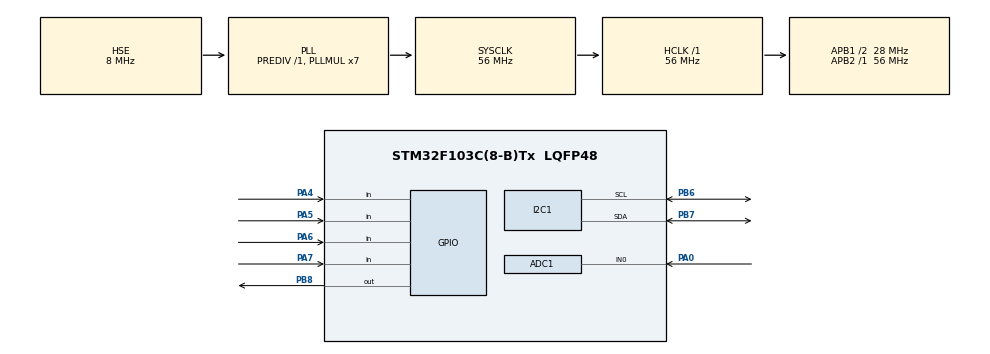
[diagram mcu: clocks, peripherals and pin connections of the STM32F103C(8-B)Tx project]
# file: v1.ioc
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ADC1.ContinuousConvMode=ENABLE
ADC1.DataAlign=ADC_DATAALIGN_RIGHT
ADC1.DiscontinuousConvMode=DISABLE
ADC1.EnableRegularConversion=DISABLE
ADC1.InjNumberOfConversion=0
ADC1.Mode=ADC_DUALMODE_INTERLFAST
ADC1.ScanConvMode=ADC_SCAN_DISABLE
ADC1.master=1
ADC2.ContinuousConvMode=ENABLE
ADC2.DataAlign=ADC_DATAALIGN_RIGHT
ADC2.DiscontinuousConvMode=DISABLE
ADC2.EnableRegularConversion=DISABLE
ADC2.InjNumberOfConversion=0
ADC2.Mode=ADC_DUALMODE_INTERLFAST
ADC2.ScanConvMode=ADC_SCAN_DISABLE
Dma.ADC1.0.Direction=DMA_PERIPH_TO_MEMORY
Dma.ADC1.0.Instance=DMA1_Channel1
Dma.ADC1.0.MemDataAlignment=DMA_MDATAALIGN_WORD
Dma.ADC1.0.MemInc=DMA_MINC_ENABLE
Dma.ADC1.0.Mode=DMA_NORMAL
Dma.ADC1.0.PeriphDataAlignment=DMA_PDATAALIGN_WORD
Dma.ADC1.0.PeriphInc=DMA_PINC_DISABLE
Dma.ADC1.0.Priority=DMA_PRIORITY_LOW
Dma.Request0=ADC1
Mcu.Family=STM32F1
Mcu.Name=STM32F103C(8-B)Tx
Mcu.Package=LQFP48
NVIC.DMA1_Channel1_IRQn=true\:0\:0\:false\:false\:true\:false
NVIC.PriorityGroup=NVIC_PRIORITYGROUP_4
NVIC.TIM4_IRQn=true\:0\:0\:false\:false\:true\:true
PA0-WKUP.Signal=ADCx_IN0
PA13.Mode=Serial_Wire
PA13.Signal=SYS_JTMS-SWDIO
PA14.Mode=Serial_Wire
PA14.Signal=SYS_JTCK-SWCLK
PA4.GPIO_PuPd=GPIO_PULLUP
PA4.Signal=GPIO_Input
PA5.GPIO_PuPd=GPIO_PULLUP
PA5.Signal=GPIO_Input
PA6.GPIO_PuPd=GPIO_PULLUP
PA6.Signal=GPIO_Input
PA7.GPIO_PuPd=GPIO_PULLUP
PA7.Signal=GPIO_Input
PB6.Mode=I2C
PB6.Signal=I2C1_SCL
PB7.Mode=I2C
PB7.Signal=I2C1_SDA
PB8.GPIO_Speed=GPIO_SPEED_FREQ_HIGH
PB8.PinState=GPIO_PIN_RESET
PB8.Signal=GPIO_Output
PD0-OSC_IN.Mode=HSE-External-Oscillator
PD0-OSC_IN.Signal=RCC_OSC_IN
PD1-OSC_OUT.Mode=HSE-External-Oscillator
PD1-OSC_OUT.Signal=RCC_OSC_OUT
ProjectManager.HeapSize=0x200
ProjectManager.StackSize=0x400
ProjectManager.TargetToolchain=SW4STM32
RCC.ADCPresc=RCC_ADCPCLK2_DIV4
RCC.AHBFreq_Value=56000000
RCC.APB1CLKDivider=RCC_HCLK_DIV2
RCC.APB1Freq_Value=28000000
RCC.APB1TimFreq_Value=56000000
RCC.APB2Freq_Value=56000000
RCC.APB2TimFreq_Value=56000000
RCC.HCLKFreq_Value=56000000
RCC.PLLMUL=RCC_PLL_MUL7
RCC.PLLSourceVirtual=RCC_PLLSOURCE_HSE
RCC.SYSCLKFreq_VALUE=56000000
RCC.SYSCLKSource=RCC_SYSCLKSOURCE_PLLCLK
RCC.USBFreq_Value=37333333.333333336
RCC.USBPrescaler=RCC_USBCLKSOURCE_PLL_DIV1_5
SH.ADCx_IN0.0=ADC1_IN0,IN0
SH.ADCx_IN0.1=ADC2_IN0,IN0
TIM4.AutoReloadPreload=TIM_AUTORELOAD_PRELOAD_ENABLE
TIM4.Period=279
TIM4.Prescaler=99
VP_TIM4_VS_ClockSourceINT.Mode=Internal
board=custom

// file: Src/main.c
/**
  ******************************************************************************
  * @file           : main.c
  * @brief          : Main program body
  ******************************************************************************
  ** This notice applies to any and all portions of this file
  * that are not between comment pairs USER CODE BEGIN and
  * USER CODE END. Other portions of this file, whether
  * inserted by the user or by software development tools
  * are owned by their respective copyright owners.
  *
  * COPYRIGHT(c) 2018 STMicroelectronics
  *
  * Redistribution and use in source and binary forms, with or without modification,
  * are permitted provided that the following conditions are met:
  *   1. Redistributions of source code must retain the above copyright notice,
  *      this list of conditions and the following disclaimer.
  *   2. Redistributions in binary form must reproduce the above copyright notice,
  *      this list of conditions and the following disclaimer in the documentation
  *      and/or other materials provided with the distribution.
  *   3. Neither the name of STMicroelectronics nor the names of its contributors
  *      may be used to endorse or promote products derived from this software
  *      without specific prior written permission.
  *
  * THIS SOFTWARE IS PROVIDED BY THE COPYRIGHT HOLDERS AND CONTRIBUTORS "AS IS"
  * AND ANY EXPRESS OR IMPLIED WARRANTIES, INCLUDING, BUT NOT LIMITED TO, THE
  * IMPLIED WARRANTIES OF MERCHANTABILITY AND FITNESS FOR A PARTICULAR PURPOSE ARE
  * DISCLAIMED. IN NO EVENT SHALL THE COPYRIGHT HOLDER OR CONTRIBUTORS BE LIABLE
  * FOR ANY DIRECT, INDIRECT, INCIDENTAL, SPECIAL, EXEMPLARY, OR CONSEQUENTIAL
  * DAMAGES (INCLUDING, BUT NOT LIMITED TO, PROCUREMENT OF SUBSTITUTE GOODS OR
  * SERVICES; LOSS OF USE, DATA, OR PROFITS; OR BUSINESS INTERRUPTION) HOWEVER
  * CAUSED AND ON ANY THEORY OF LIABILITY, WHETHER IN CONTRACT, STRICT LIABILITY,
  * OR TORT (INCLUDING NEGLIGENCE OR OTHERWISE) ARISING IN ANY WAY OUT OF THE USE
  * OF THIS SOFTWARE, EVEN IF ADVISED OF THE POSSIBILITY OF SUCH DAMAGE.
  *
  ******************************************************************************
  */
#include "main.h"
#include "stm32f1xx_hal.h"

/* USER CODE BEGIN Includes */
#include <stdlib.h>
#include "ssd1306_tests.h"
#include "ssd1306.h"
/* USER CODE END Includes */

ADC_HandleTypeDef hadc1;
ADC_HandleTypeDef hadc2;
DMA_HandleTypeDef hdma_adc1;

I2C_HandleTypeDef hi2c1;

TIM_HandleTypeDef htim4;

/* USER CODE BEGIN PV */
/* Private variables ---------------------------------------------------------*/
int adc_finish=0;
int trigger_threshold = 1950;
int volt_scale = 500;
int time_scale_position = 5;
float time_scale_step = 1;
long adc_freq =  14000000L;
int now_key = 0;
int old_key = 0;
int drawline_switch = 1;
int graph_x = 0;
int time_scale_over_5000_div_counter = 0;

//#define ADC_DATA_ARRAY_SIZE 975
#define ADC_DATA_ARRAY_SIZE 3000
#define MIDDLE_POINT ADC_DATA_ARRAY_SIZE
uint16_t find_x=MIDDLE_POINT;

int slow_adc_div_counter = 0;
//int graph_point_sampled = 0;
int key_func_group = 1;
int key_debounce_timer = 0;
/* USER CODE END PV */

void SystemClock_Config(void);
static void MX_GPIO_Init(void);
static void MX_DMA_Init(void);
static void MX_ADC1_Init(void);
static void MX_ADC2_Init(void);
static void MX_I2C1_Init(void);
static void MX_TIM4_Init(void);

/* USER CODE BEGIN PFP */
/* Private function prototypes -----------------------------------------------*/

/* USER CODE END PFP */

/* USER CODE BEGIN 0 */
void init() {
//    ssd1306_TestAll();
    ssd1306_Init();
//    ssd1306_TestFPS();

}

void loop() {
	HAL_Delay(100);
}

uint32_t adc_datas[ADC_DATA_ARRAY_SIZE];

uint16_t get_adc_data(int index)
{
	uint16_t tmp;
	if(index % 2)
	{
		// index % 2 != 0
		tmp = ((adc_datas[index/2])&0xffff);
	}
	else
	{
		// index % 2 == 0
		tmp = ((adc_datas[index/2]>>16)&0xffff);
	}
//#define OFFSET 90
#define OFFSET 0
	if(tmp < (4096-OFFSET)) tmp += OFFSET;
	return tmp;
}
//
// scale : Volts/DIV (unit:mV)
//
uint16_t convert_adc_scale(uint16_t data,int scale)
{
	int tmp=0;
	if(scale == 100)
	{
//		tmp = data/(0.001/(3.3/4096));
//		tmp -= (4096/(0.001/(3.3/4096)) - 64) / 2;
	}
	else if(scale == 200)
	{
//		tmp = data/(0.002/(3.3/4096));
//		tmp -= (4096/(0.002/(3.3/4096)) - 64) / 2;
	}
	else if(scale == 500)
	{
		// 1/10
		// 1-(1/10) = 9/10
		// 9/10 /2 = 4.5/10
		tmp = data - (4.5*4096/10); // 4.5/10=0.45
		tmp /= (4096/10/64); // ratio = 10
	}
	else if(scale == 1000)
	{
		// 1/5
		// 1-(1/5) = 4/5
		// 4/5 /2 = 2/5
		tmp = data - (2*4096/5); // 2/5=0.4
		tmp /= (4096/5/64); // 10/2=5
	}
	else if(scale == 2000)
	{
		// 1/2.5
		// 1-(1/2.5) = 1.5/2.5
		// 1.5/2.5 /2 = 0.75/2.5 = 7.5/25
		tmp = data - (7.5*4096/25); // 7.5/25=0.3
		tmp /= (4096/2.5/64); // 10/4=2.5
	}
	else if(scale == 5000)
	{
		// 1/1
		// 1-(1/1) = 0
		// 0 /2 = 0
		tmp = data - (0);
		tmp /= (4096/1/64); // 10/10=1
	}
	else if(scale == 10000)
	{
//		tmp = data/(1.0/(3.3/4096));
//		tmp -= (4096/(1.0/(3.3/4096)) - 64) / 2;
	}
	if(tmp < 0) tmp = 0;
	return tmp;
}
void i2cClock_Reconfig(void)
{
	  // i2c clock re-config
	  hi2c1.Init.ClockSpeed = 8 * 100000;
	  if (HAL_I2C_Init(&hi2c1) != HAL_OK)
	  {
	    _Error_Handler(__FILE__, __LINE__);
	  }

}
//void sysTick_Reconfig(void)
//{
//    /**Configure the Systick interrupt time
//    */
//	  HAL_SYSTICK_Config(HAL_RCC_GetHCLKFreq()/2000U);
//	    /**Configure the Systick
//	    */
//	  HAL_SYSTICK_CLKSourceConfig(SYSTICK_CLKSOURCE_HCLK);
//
//	  /* SysTick_IRQn interrupt configuration */
//	  HAL_NVIC_SetPriority(SysTick_IRQn, 0, 0);

//	  HAL_SetTickFreq(0.5);
//}
void ADCClock_ReConfig(int div)
{

  RCC_ClkInitTypeDef RCC_ClkInitStruct;
  RCC_PeriphCLKInitTypeDef PeriphClkInit;

    /**Initializes the CPU, AHB and APB busses clocks
    */
  RCC_ClkInitStruct.ClockType = RCC_CLOCKTYPE_HCLK|RCC_CLOCKTYPE_SYSCLK
                              |RCC_CLOCKTYPE_PCLK1|RCC_CLOCKTYPE_PCLK2;
  RCC_ClkInitStruct.SYSCLKSource = RCC_SYSCLKSOURCE_PLLCLK;
  RCC_ClkInitStruct.AHBCLKDivider = RCC_SYSCLK_DIV1;
  RCC_ClkInitStruct.APB1CLKDivider = RCC_HCLK_DIV2;
  if(div==14000000L)
  {
	  RCC_ClkInitStruct.APB2CLKDivider = RCC_HCLK_DIV1;
  }
  if(div==1750000L)
  {
	  RCC_ClkInitStruct.APB2CLKDivider = RCC_HCLK_DIV8;
  }
  if(div==437500L)
  {
	  RCC_ClkInitStruct.APB2CLKDivider = RCC_HCLK_DIV16;
  }

  if (HAL_RCC_ClockConfig(&RCC_ClkInitStruct, FLASH_LATENCY_2) != HAL_OK)
  {
    _Error_Handler(__FILE__, __LINE__);
  }

  PeriphClkInit.PeriphClockSelection = RCC_PERIPHCLK_ADC;
  if(div==14000000L || div==1750000L)
  {
	  PeriphClkInit.AdcClockSelection = RCC_ADCPCLK2_DIV4;
  }
  if(div==437500L)
  {
	  PeriphClkInit.AdcClockSelection = RCC_ADCPCLK2_DIV8;
  }

  if (HAL_RCCEx_PeriphCLKConfig(&PeriphClkInit) != HAL_OK)
  {
    _Error_Handler(__FILE__, __LINE__);
  }

}

void drawline(uint16_t x0, uint16_t y0, uint16_t x1, uint16_t y1)
{
//	uint16_t dx, dy, p, x, y;
	if(y0 == 0xffff) return;
	if(y1 == 0xffff) return;
	if((y0 > 64-1)) y0 = 63;
	if((y1 > 64-1)) y1 = 63;

	  int dx =  abs (x1 - x0), sx = x0 < x1 ? 1 : -1;
	  int dy = -abs (y1 - y0), sy = y0 < y1 ? 1 : -1;
	  int err = dx + dy, e2; /* error value e_xy */

	  for (;;){  /* loop */
	    //setPixel (x0,y0);
	    ssd1306_DrawPixel(x0, y0, Black);
	    if (x0 == x1 && y0 == y1) break;
	    e2 = 2 * err;
	    if (e2 >= dy) { err += dy; x0 += sx; } /* e_xy+e_x > 0 */
	    if (e2 <= dx) { err += dx; y0 += sy; } /* e_xy+e_y < 0 */
	  }

}

void draw_frame(void )
{
	  char str[16];
	  char str2[16];
	//
	// draw frame
	//
			  		  for(int i=0 ;i<128;i++)
			  		  {
			  			  if((i % 2) == 0)
			  				  ssd1306_DrawPixel(i, 64/2, Black);

			  			  if(i%10 == 0)
			  			  {
			  				  ssd1306_DrawPixel(i, (64/2)-60, Black);
			  				  ssd1306_DrawPixel(i, (64/2)-50, Black);
			  				  ssd1306_DrawPixel(i, (64/2)-40, Black);
			  				  ssd1306_DrawPixel(i, (64/2)-30, Black);
			  				  ssd1306_DrawPixel(i, (64/2)-20, Black);
			  				  ssd1306_DrawPixel(i, (64/2)-10, Black);
			  //				  ssd1306_DrawPixel(i, (64/2)-0, Black);
			  				  ssd1306_DrawPixel(i, (64/2)+10, Black);
			  				  ssd1306_DrawPixel(i, (64/2)+20, Black);
			  				  ssd1306_DrawPixel(i, (64/2)+30, Black);
			  				  ssd1306_DrawPixel(i, (64/2)+40, Black);
			  				  ssd1306_DrawPixel(i, (64/2)+50, Black);
			  				  ssd1306_DrawPixel(i, (64/2)+60, Black);
			  			  }
			  		  }
			  		  for(int i=0 ;i<64;i++)
			  		  {
			  			  if((i % 2) == 0)
			  			  {
			  				  ssd1306_DrawPixel(50, i, Black);
			  				  ssd1306_DrawPixel(100, i, Black);
			  			  }
			  		  }
			  		  for(int i=0 ;i<128;i++)
			  		  {
			  			  if((i % 3))
			  				  ssd1306_DrawPixel(i, convert_adc_scale(trigger_threshold,volt_scale), Black);
			  		  }
			  		  //
//			  		  drawline(127-17-1,0+1,127-1,0+1);
//			  		  drawline(127-17-1,10*6+1,127-1,10*6+1);
//			  		  drawline(127-17-1,0+1,127-17-1,10*6+1);
//			  		  drawline(127-1,0+1,127-1,10*6+1);
//			  		  drawline(127-17-1,0+1+10,127-1,0+1+10);
//			  		  drawline(127-17-1,0+1+20,127-1,0+1+20);
//			  		  drawline(127-17-1,0+1+30,127-1,0+1+30);
//			  		  drawline(127-17-1,0+1+40,127-1,0+1+40);
//			  		  drawline(127-17-1,0+1+50,127-1,0+1+50);
			  		  for(int y=0;y<0+21;y++)
//			  			  for(int x=120;x<120+28;x++)
			  			  {
			  				drawline(100,y,120+27,y);
			  			  }
			  		  for(int y=64-19;y<64;y++)
//			  			  for(int x=120;x<120+28;x++)
			  			  {
			  				drawline(100,y,120+27,y);
			  			  }
			  		  //
			  	  	  sprintf(str," %c",FONT8X9_DAHAI);
			  	  	  ssd1306_SetCursor(127-17, 0);
			  	  	  ssd1306_WriteString(str, Font_8x9, White);

			  		  switch (volt_scale)
			  		  {
			  			  case 100:
//			  				  sprintf(str,"%c",FONT5X8_0p5V);
			  				  break;
			  			  case 200:
//			  				  sprintf(str,"0.2V");
			  				  break;
			  			  case 500:
			  				  sprintf(str,"%c",FONT8X9_0p5V);
			  				  break;
			  			  case 1000:
			  				  sprintf(str,"%c",FONT8X9_1V);
			  				  break;
			  			  case 2000:
			  				  sprintf(str,"%c",FONT8X9_2V);
			  				  break;
			  			  case 5000:
			  				  sprintf(str,"%c",FONT8X9_5V);
			  				  break;
			  			  default:
			  				  break;
			  		  }
			  	  	  ssd1306_SetCursor(127-17-1, 0+11);
			  	  	  ssd1306_WriteString(str, Font_8x9, White);
			  	  	  ssd1306_SetCursor(127-8,0+11);
			  	  	  sprintf(str,"%c",FONT8X9_DIV);
			  	  	  ssd1306_WriteString(str, Font_8x9, White);

			  		  switch (time_scale_position)
			  		  {
			  			  case 5:
			  				  sprintf(str2,"%cM",FONT8X9_2);
			  				  sprintf(str,"%c%c",FONT8X9_5,FONT8X9_uS);
			  				  break;
			  			  case 10:
			  				  sprintf(str2,"%cM",FONT8X9_2);
			  				  sprintf(str,"%c%c",FONT8X9_10,FONT8X9_uS);
			  				  break;
			  			  case 20:
			  				  sprintf(str2,"%cM",FONT8X9_2);
			  				  sprintf(str,"%c%c",FONT8X9_20,FONT8X9_uS);
			  				  break;
			  			  case 50:
			  				  sprintf(str2,"%cM",FONT8X9_2);
			  				  sprintf(str,"%c%c",FONT8X9_50,FONT8X9_uS);
			  				  break;
			  			  case 100:
			  				  sprintf(str2,"%ck",FONT8X9_200);
			  				  sprintf(str,"%c%c",FONT8X9_100,FONT8X9_uS);
			  				  break;
			  			  case 200:
			  				  sprintf(str2,"%ck",FONT8X9_200);
			  				  sprintf(str,"%c%c",FONT8X9_200,FONT8X9_uS);
			  				  break;
			  			  case 500:
			  				  sprintf(str2,"%ck",FONT8X9_200);
			  				  sprintf(str,"%c%c",FONT8X9_500,FONT8X9_uS);
			  				  break;
			  			  case 1000:
			  				  sprintf(str2,"%ck",FONT8X9_20);
			  				  sprintf(str,"%c%c",FONT8X9_1,FONT8X9_mS);
			  				  break;
			  			  case 2000:
			  				  sprintf(str2,"%ck",FONT8X9_20);
			  				  sprintf(str,"%c%c",FONT8X9_2,FONT8X9_mS);
			  				  break;
			  			  case 5000:
			  				  sprintf(str2,"%ck",FONT8X9_20);
			  				  sprintf(str,"%c%c",FONT8X9_5,FONT8X9_mS);
			  				  break;
			  			  case 10000:
			  				  sprintf(str2,"%ck",FONT8X9_2);
			  				  sprintf(str,"%c%c",FONT8X9_10,FONT8X9_mS);
			  				  break;
			  			  case 20000:
			  				  sprintf(str2,"%ck",FONT8X9_2);
			  				  sprintf(str,"%c%c",FONT8X9_20,FONT8X9_mS);
			  				  break;
			  			  case 50000:
			  				  sprintf(str2,"%ck",FONT8X9_2);
			  				  sprintf(str,"%c%c",FONT8X9_50,FONT8X9_mS);
			  				  break;
			  			  case 100000:
			  				  sprintf(str2,"    ");
			  				  sprintf(str,"%c%c",FONT8X9_0p1,FONT8X9_S);
			  				  break;
			  			  case 200000:
			  				  sprintf(str2,"    ");
			  				  sprintf(str,"%c%c",FONT8X9_0p2,FONT8X9_S);
			  				  break;
			  			  case 500000:
			  				  sprintf(str2,"    ");
			  				  sprintf(str,"%c%c",FONT8X9_0p5,FONT8X9_S);
			  				  break;
			  			  default:
			  				  break;
			  		  }
			  	  	  ssd1306_SetCursor(128-25, 64-19);
			  	  	  ssd1306_WriteString(str, Font_8x9, White);
			  	  	  sprintf(str,"%c",FONT8X9_DIV);
			  	  	  ssd1306_SetCursor(128-9, 64-19);
			  	  	  ssd1306_WriteString(str, Font_8x9, White);

			  	  	  ssd1306_SetCursor(128-25, 64-10);
			  	  	  ssd1306_WriteString(str2, Font_8x9, White);
			  	  	  sprintf(str2,"%c",FONT8X9_SPS);
			  	  	  ssd1306_SetCursor(128-9, 64-10);
			  	  	  ssd1306_WriteString(str2, Font_8x9, White);
	switch(key_func_group)
	{
	case 1:
		ssd1306_SetCursor(93,44);
		ssd1306_WriteString(">", Font_8x9, White);
		break;
	case 2:
		ssd1306_SetCursor(93,9);
		ssd1306_WriteString(">", Font_8x9, White);
		break;
	case 3:
		ssd1306_SetCursor(0, convert_adc_scale(trigger_threshold,volt_scale)-4);
		ssd1306_WriteString(">", Font_8x9, White);
		break;
	default:
		break;
	}
}
void process_key(void)
{
	if(key_debounce_timer > 0)		return;

//	if(HAL_GPIO_ReadPin(GPIOC,GPIO_PIN_13) == GPIO_PIN_RESET) now_key = 1;
//	else if(HAL_GPIO_ReadPin(GPIOC,GPIO_PIN_14) == GPIO_PIN_RESET) now_key = 2;
	 if(HAL_GPIO_ReadPin(GPIOA,GPIO_PIN_4) == GPIO_PIN_RESET) now_key = 1;
	else if(HAL_GPIO_ReadPin(GPIOA,GPIO_PIN_5) == GPIO_PIN_RESET) now_key = 2;
	else if(HAL_GPIO_ReadPin(GPIOA,GPIO_PIN_6) == GPIO_PIN_RESET) now_key = 3;
	else if(HAL_GPIO_ReadPin(GPIOA,GPIO_PIN_7) == GPIO_PIN_RESET) now_key = 4;
	else now_key = 0;

	if(old_key != now_key)
	{
	  old_key = now_key;

	  if(now_key == 3)
	  {
		switch(key_func_group)
		{
		case 1:
			key_func_group = 2;
			break;
		case 2:
			key_func_group = 3;
			break;
		case 3:
			key_func_group = 1;
			break;
		default:
			break;
		}
	  }
	  if(now_key == 4)
	  {
		switch(key_func_group)
		{
		  case 3:
			  key_func_group = 2;
			  break;
		  case 2:
			  key_func_group = 1;
			  break;
		  case 1:
			  key_func_group = 3;
			  break;
		  default:
			  break;
		}
	  }

	  if(key_func_group == 1 && now_key == 1)
	  {
		  switch (time_scale_position)
		  {
			  case 5:
				  // change to 10us/DIV = 1us/div
				  // 14M clk = 2M SPS = 0.5us
				  adc_freq =  14000000L;
				  ADCClock_ReConfig(adc_freq);
				  time_scale_position = 10;
				  time_scale_step = 2;
				  break;
			  case 10:
//					  adc_freq =  14000000L;
//					  ADCClock_ReConfig(adc_freq);
				  time_scale_position = 20;
				  time_scale_step = 4;
				  break;
			  case 20:
//					  adc_freq =  14000000L;
//					  ADCClock_ReConfig(adc_freq);
				  time_scale_position = 50;
				  time_scale_step = 10;
				  break;
			  case 50:
				  // change to 100us/DIV = 10us/div
				  // 1.75M clk = 250k SPS = 4us
				  //
				  // 10us / 4us = 2.5
				  adc_freq =  1750000L;
				  ADCClock_ReConfig(adc_freq);
				  time_scale_position = 100;
				  time_scale_step = (1.25 * 2);
				  break;
			  case 100:
//					  adc_freq =  1750000L;
//					  ADCClock_ReConfig(adc_freq);
				  time_scale_position = 200;
				  time_scale_step = (1.25 * 4);
				  break;
			  case 200:
//					  adc_freq =  1750000L;
//					  ADCClock_ReConfig(adc_freq);
				  time_scale_position = 500;
				  time_scale_step = (1.25 * 10);
				  break;
			  case 500:
				  adc_freq = 437500L;
				  ADCClock_ReConfig(adc_freq);
				  time_scale_position = 1000;
				  time_scale_step = (3.125 * 2);
				  break;
			  case 1000:
//					  adc_freq = 437500L;
//					  ADCClock_ReConfig(adc_freq);
				  time_scale_position = 2000;
				  time_scale_step = (3.125 * 4);
				  break;
			  case 2000:
//					  adc_freq = 437500L;
//					  ADCClock_ReConfig(adc_freq);
				  time_scale_position = 5000;
				  time_scale_step = (3.125 * 10);
				  break;
			  case 5000:
				  adc_freq =  14000000L;
				  time_scale_position = 10000;
				  time_scale_step = 2;
				  break;
			  case 10000:
				  time_scale_position = 20000;
				  time_scale_step = 4;
				  break;
			  case 20000:
				  time_scale_position = 50000;
				  time_scale_step = 10;
				  break;
			  case 50000:
				  time_scale_position = 100000;
				  time_scale_step = 1;
				  break;
			  case 100000:
				  time_scale_position = 200000;
				  time_scale_step = 1;
				  break;
			  case 200000:
				  time_scale_position = 500000;
				  time_scale_step = 1;
				  break;
			  case 500000:
				  adc_freq =  14000000L;
				  ADCClock_ReConfig(adc_freq);
				  time_scale_position = 5;
				  time_scale_step = 1;
				  break;
			  default:
				  break;
  		  }
		  HAL_ADC_Stop(&hadc1);
		  HAL_ADC_Stop(&hadc2);
		  HAL_ADCEx_Calibration_Start(&hadc1);
		  HAL_ADCEx_Calibration_Start(&hadc2);
//		  HAL_ADC_Start(&hadc2);
	  }
	  if(key_func_group == 1 && now_key == 2)
	  {
		  switch (time_scale_position)
		  {
			  case 5:
				  adc_freq = 14000000L;
				  ADCClock_ReConfig(adc_freq);
				  time_scale_position = 500000;
				  time_scale_step = 1;
				  break;
			  case 10:
				  adc_freq =  14000000L;
				  ADCClock_ReConfig(adc_freq);
				  time_scale_position = 5;
				  time_scale_step = 1;
				  break;
			  case 20:
				  adc_freq =  14000000L;
				  ADCClock_ReConfig(adc_freq);
				  time_scale_position = 10;
				  time_scale_step = 2;
				  break;
			  case 50:
				  adc_freq =  14000000L;
				  ADCClock_ReConfig(adc_freq);
				  time_scale_position = 20;
				  time_scale_step = 4;
				  break;
			  case 100:
				  adc_freq =  14000000L;
				  ADCClock_ReConfig(adc_freq);
				  time_scale_position = 50;
				  time_scale_step = 10;
				  break;
			  case 200:
				  adc_freq =  1750000L;
				  ADCClock_ReConfig(adc_freq);
				  time_scale_position = 100;
				  time_scale_step = (1.25 * 2);
				  break;
			  case 500:
				  adc_freq =  1750000L;
				  ADCClock_ReConfig(adc_freq);
				  time_scale_position = 200;
				  time_scale_step = (1.25 * 4);
				  break;
			  case 1000:
				  adc_freq =  1750000L;
				  ADCClock_ReConfig(adc_freq);
				  time_scale_position = 500;
				  time_scale_step = (1.25 * 10);
				  break;
			  case 2000:
				  adc_freq = 437500L;
				  ADCClock_ReConfig(adc_freq);
				  time_scale_position = 1000;
				  time_scale_step = (3.125 * 2);
				  break;
			  case 5000:
				  adc_freq = 437500L;
				  ADCClock_ReConfig(adc_freq);
				  time_scale_position = 2000;
				  time_scale_step = (3.125 * 4);
				  break;
			  case 10000:
				  adc_freq = 437500L;
				  ADCClock_ReConfig(adc_freq);
				  time_scale_position = 5000;
				  time_scale_step = (3.125 * 10);
				  break;
			  case 20000:
				  time_scale_position = 10000;
				  time_scale_step = 2;
				  break;
			  case 50000:
				  time_scale_position = 20000;
				  time_scale_step = 4;
				  break;
			  case 100000:
				  time_scale_position = 50000;
				  time_scale_step = 10;
				  break;
			  case 200000:
				  time_scale_position = 100000;
				  time_scale_step = 1;
				  break;
			  case 500000:
				  time_scale_position = 200000;
				  time_scale_step = 1;
				  break;
			  default:
				  break;
  		  }
		  HAL_ADC_Stop(&hadc1);
		  HAL_ADC_Stop(&hadc2);
		  HAL_ADCEx_Calibration_Start(&hadc1);
		  HAL_ADCEx_Calibration_Start(&hadc2);
//		  HAL_ADC_Start(&hadc2);
	  }
	  if(key_func_group == 2 && now_key == 1)
	  {
		  switch(volt_scale)
		  {
			  case 500:
				  volt_scale = 1000;
				  break;
			  case 1000:
				  volt_scale = 2000;
				  break;
			  case 2000:
				  volt_scale = 5000;
				  break;
			  case 5000:
				  volt_scale = 500;
				  break;
			  default:
				  break;
		  }
	  }
	  if(key_func_group == 2 && now_key == 2)
	  {
		  switch(volt_scale)
		  {
			  case 500:
				  volt_scale = 5000;
				  break;
			  case 1000:
				  volt_scale = 500;
				  break;
			  case 2000:
				  volt_scale = 1000;
				  break;
			  case 5000:
				  volt_scale = 2000;
				  break;
			  default:
				  break;
		  }
	  }
	  if(key_func_group == 3 && now_key == 1)
	  {
		  if(trigger_threshold > ((volt_scale/10)/7.3)) trigger_threshold-=((volt_scale/10)/7.3);
	  }
	  if(key_func_group == 3 && now_key == 2)
	  {
		  if(trigger_threshold < (4096 - ((volt_scale/10)/7.3))) trigger_threshold+=((volt_scale/10)/7.3);
	  }
	  // debounce
	  key_debounce_timer = 40;
//	  for(long i=0;i<300000;i++);
	  // adc re-start
	  HAL_ADC_Start(&hadc2);
	  HAL_ADCEx_MultiModeStart_DMA(&hadc1, adc_datas, 1);
	}// old_key != new_key

}
void process_buffer(void)
{
	  uint16_t x=0;
	  uint16_t new_y=0;
	  volatile uint16_t old_y=0;
	  uint16_t adc_data;
//		  uint16_t middle_y;
	  // first half screen after x=50
	  x=50;
	  for(float i=find_x+(1*time_scale_step); i<find_x+(1*time_scale_step)+((128-50)*time_scale_step); i+=time_scale_step)
	  {
		  adc_data = get_adc_data(i);
		  if(adc_data < 4096)
			  new_y = convert_adc_scale(adc_data,volt_scale);
		  else
			  new_y = adc_data;

		  if(drawline_switch & (x!=50))
		  {
			  drawline(x-1,old_y,x,new_y);

			  x++;
		  }
		  else
		  {
			  // first point
			  ssd1306_DrawPixel(x, new_y, Black);
			  x++;
		  }
		  old_y = new_y;

	  }
	  // the other half screen before x=50
	  x=50;
	  for(float i=find_x+(1*time_scale_step); i>find_x+(1*time_scale_step)-(50*time_scale_step); i-=time_scale_step)
	  {
		  adc_data = get_adc_data(i);
		  if(adc_data < 4096)
			  new_y = convert_adc_scale(adc_data,volt_scale);
		  else
			  new_y = adc_data;

		  if(drawline_switch & (x!=50))
		  {
			  drawline(x+1,old_y,x,new_y);
			  x--;
		  }
		  else
		  {
			  // first point
			  ssd1306_DrawPixel(x, new_y, Black);
			  x--;
		  }
		  old_y = new_y;

	  }
//	  ssd1306_DrawPixel(x & 0x7f, y & 0x3f, Black);

}
/* USER CODE END 0 */

int main(void)
{

  /* MCU Configuration----------------------------------------------------------*/

  /* Reset of all peripherals, Initializes the Flash interface and the Systick. */
  HAL_Init();

  /* Configure the system clock */
  SystemClock_Config();

  /* Initialize all configured peripherals */
  MX_GPIO_Init();
  MX_DMA_Init();
  MX_ADC1_Init();
  MX_ADC2_Init();
  MX_I2C1_Init();
  MX_TIM4_Init();
  /* USER CODE BEGIN 2 */
  //
  i2cClock_Reconfig();
//  sysTick_Reconfig();

  ADCClock_ReConfig(adc_freq);

// timer1
//  HAL_TIM_Base_Start(&htim1);
  HAL_TIM_Base_Start_IT(&htim4);
//  HAL_TIM_OC_Start(&htim1, TIM_CHANNEL_1);
//  HAL_TIM_OC_Start_IT(&htim1, TIM_CHANNEL_2);

// adc first start
  HAL_ADC_Start(&hadc2);
  HAL_ADCEx_MultiModeStart_DMA(&hadc1, adc_datas, ADC_DATA_ARRAY_SIZE);
  for(volatile long i=0;i<1000000L;i++);
// adc calibration
  HAL_ADC_Stop(&hadc1);
  HAL_ADC_Stop(&hadc2);
  HAL_ADCEx_Calibration_Start(&hadc1);
  HAL_ADCEx_Calibration_Start(&hadc2);
// adc re-start
//  HAL_ADC_Start(&hadc1);
  HAL_ADC_Start(&hadc2);
//  ADC_Enable(&hadc1);
//  ADC_Enable(&hadc2);
  HAL_ADCEx_MultiModeStart_DMA(&hadc1, adc_datas, ADC_DATA_ARRAY_SIZE);

  /* USER CODE END 2 */

  /* Infinite loop */
  /* USER CODE BEGIN WHILE */
  init();
//  int rand = 65537;
//  int x,y;
//  for(int i; i<100; i++)
//	 loop();
//  loop();
//  loop();
//  ssd1306_Fill(Black);
//  int trigger_threshold = 1920;

  while (1)
  {
//	  for(y=0; y<60; y+=10)
//	  for(x=0; x<128; x+=8)
//	  {
////	    loop();
//
  /* USER CODE END WHILE */

  /* USER CODE BEGIN 3 */
//	  init();
//	  for(int i; i<100; i++)
//		 loop();

//	    ssd1306_SetCursor(x,y);
//	    ssd1306_WriteChar(*(unsigned char *)(&rand), Font_7x10, White);
//	    ssd1306_UpdateScreen();
//	    rand = rand * 3 + 1;
//	  }

//	  ssd1306_DrawPixel(rand() % 128, rand() % 64, White);
//	  ssd1306_UpdateScreen();

	  //	  x = *(unsigned char *)(&rand);
//	  rand = rand * 3 + 1;
//	  y = *(unsigned char *)(&rand);
//	  rand = rand * 3 + 1;

//	  ssd1306_SetCursor(0, 0);
//	  sprintf(str,"%d    ",adc_datas[0]);
//	  ssd1306_WriteString(str, Font_7x10, White);

	  //
	process_key();
//
	  if(adc_finish)
	  {
		  adc_finish = 0;

	  	  // waveform or graph
		  if(time_scale_position < 10000)
		  {
// find cross-trigger point
		  // find cross-trigger point from middle of data array
//		  uint16_t tmp1;
		  uint16_t tmp2;
		  uint16_t tmp3;
//		  uint16_t tmp4;
		  find_x = MIDDLE_POINT-time_scale_step;
		  while(find_x+(4*time_scale_step) < (ADC_DATA_ARRAY_SIZE * 2))
		  {
//			  tmp1 = get_adc_data(find_x+(1*time_scale_step));
			  tmp2 = get_adc_data(find_x+(2*time_scale_step));
			  tmp3 = get_adc_data(find_x+(3*time_scale_step));
//			  tmp4 = get_adc_data(find_x+(4*time_scale_step));

			  if(tmp2 > trigger_threshold && tmp3 < trigger_threshold)
			  {
//				  if(tmp1 > tmp2 )
//					  if (tmp3 > tmp4)
//					  {
							  break;
//					  }
			  }
			  find_x+=time_scale_step;
		  }

//
		  	  if(find_x+(78*time_scale_step) >= (ADC_DATA_ARRAY_SIZE * 2)) find_x=MIDDLE_POINT;
		  	//
  			  ssd1306_Fill(White);
			  process_buffer();
			  draw_frame();
			  ssd1306_UpdateScreen();
			  //
			  // adc re-start
			  HAL_ADC_Start(&hadc2);
			  HAL_ADCEx_MultiModeStart_DMA(&hadc1, adc_datas, ADC_DATA_ARRAY_SIZE);
		  }
		  if(time_scale_position == 10000 || time_scale_position == 20000 || time_scale_position == 50000)
		  {

			  // find cross-trigger point
			  // find cross-trigger point from middle of data array

			  uint16_t tmp2;
			  uint16_t tmp3;

			  find_x = MIDDLE_POINT-time_scale_step;
			  while(find_x+(4*time_scale_step) < (ADC_DATA_ARRAY_SIZE * 2))
			  {

				  tmp2 = get_adc_data(find_x+(2*time_scale_step));
				  tmp3 = get_adc_data(find_x+(3*time_scale_step));

				  if(tmp2 > trigger_threshold && tmp3 < trigger_threshold)
				  {

								  break;

				  }
				  find_x+=time_scale_step;
			  }

			  //
			  if(find_x+(78*time_scale_step) >= (ADC_DATA_ARRAY_SIZE * 2)) find_x=MIDDLE_POINT-time_scale_step;
			//
			  ssd1306_Fill(White);
			  process_buffer();
			  draw_frame();
			  ssd1306_UpdateScreen();

//			  //			  while(graph_point_sampled == 0);
//
//			  //				  graph_point_sampled = 0;
//
//				  adc_datas[(int)(MIDDLE_POINT - (50*time_scale_step) + (graph_x*time_scale_step))/2] = adc_datas[0];
//
//				  if(graph_x < 128) graph_x++;
//				  else
//				  {
//					  graph_x = 0;
//
//					  find_x=MIDDLE_POINT;
//					  //
//			  		  ssd1306_Fill(White);
//					  process_buffer();
//					  draw_frame();
//					  ssd1306_UpdateScreen();
//				  }
//
//				  // time_scale_position > 5000
//

		  }
		  if(time_scale_position == 100000 || time_scale_position == 200000 || time_scale_position == 500000)
		  {
			  find_x=MIDDLE_POINT-time_scale_step;
			  ssd1306_Fill(White);
			  process_buffer();
			  draw_frame();
			  ssd1306_UpdateScreen();
		  }

		  } // if adc_finish

  } // while
  /* USER CODE END 3 */

}

void SystemClock_Config(void)
{

  RCC_OscInitTypeDef RCC_OscInitStruct;
  RCC_ClkInitTypeDef RCC_ClkInitStruct;
  RCC_PeriphCLKInitTypeDef PeriphClkInit;

    /**Initializes the CPU, AHB and APB busses clocks
    */
  RCC_OscInitStruct.OscillatorType = RCC_OSCILLATORTYPE_HSE;
  RCC_OscInitStruct.HSEState = RCC_HSE_ON;
  RCC_OscInitStruct.HSEPredivValue = RCC_HSE_PREDIV_DIV1;
  RCC_OscInitStruct.HSIState = RCC_HSI_ON;
  RCC_OscInitStruct.PLL.PLLState = RCC_PLL_ON;
  RCC_OscInitStruct.PLL.PLLSource = RCC_PLLSOURCE_HSE;
  RCC_OscInitStruct.PLL.PLLMUL = RCC_PLL_MUL7;
  if (HAL_RCC_OscConfig(&RCC_OscInitStruct) != HAL_OK)
  {
    _Error_Handler(__FILE__, __LINE__);
  }

    /**Initializes the CPU, AHB and APB busses clocks
    */
  RCC_ClkInitStruct.ClockType = RCC_CLOCKTYPE_HCLK|RCC_CLOCKTYPE_SYSCLK
                              |RCC_CLOCKTYPE_PCLK1|RCC_CLOCKTYPE_PCLK2;
  RCC_ClkInitStruct.SYSCLKSource = RCC_SYSCLKSOURCE_PLLCLK;
  RCC_ClkInitStruct.AHBCLKDivider = RCC_SYSCLK_DIV1;
  RCC_ClkInitStruct.APB1CLKDivider = RCC_HCLK_DIV2;
  RCC_ClkInitStruct.APB2CLKDivider = RCC_HCLK_DIV1;

  if (HAL_RCC_ClockConfig(&RCC_ClkInitStruct, FLASH_LATENCY_2) != HAL_OK)
  {
    _Error_Handler(__FILE__, __LINE__);
  }

  PeriphClkInit.PeriphClockSelection = RCC_PERIPHCLK_ADC;
  PeriphClkInit.AdcClockSelection = RCC_ADCPCLK2_DIV4;
  if (HAL_RCCEx_PeriphCLKConfig(&PeriphClkInit) != HAL_OK)
  {
    _Error_Handler(__FILE__, __LINE__);
  }

    /**Configure the Systick interrupt time
    */
  HAL_SYSTICK_Config(HAL_RCC_GetHCLKFreq()/1000);

    /**Configure the Systick
    */
  HAL_SYSTICK_CLKSourceConfig(SYSTICK_CLKSOURCE_HCLK);

  /* SysTick_IRQn interrupt configuration */
  HAL_NVIC_SetPriority(SysTick_IRQn, 0, 0);
}

/* ADC1 init function */
static void MX_ADC1_Init(void)
{

  ADC_MultiModeTypeDef multimode;

    /**Common config
    */
  hadc1.Instance = ADC1;
  hadc1.Init.ScanConvMode = ADC_SCAN_DISABLE;
  hadc1.Init.ContinuousConvMode = ENABLE;
  hadc1.Init.DiscontinuousConvMode = DISABLE;
  hadc1.Init.ExternalTrigConv = ADC_SOFTWARE_START;
  hadc1.Init.DataAlign = ADC_DATAALIGN_RIGHT;
  hadc1.Init.NbrOfConversion = 1;
  if (HAL_ADC_Init(&hadc1) != HAL_OK)
  {
    _Error_Handler(__FILE__, __LINE__);
  }

    /**Configure the ADC multi-mode
    */
  multimode.Mode = ADC_DUALMODE_INTERLFAST;
  if (HAL_ADCEx_MultiModeConfigChannel(&hadc1, &multimode) != HAL_OK)
  {
    _Error_Handler(__FILE__, __LINE__);
  }

}

/* ADC2 init function */
static void MX_ADC2_Init(void)
{

    /**Common config
    */
  hadc2.Instance = ADC2;
  hadc2.Init.ScanConvMode = ADC_SCAN_DISABLE;
  hadc2.Init.ContinuousConvMode = ENABLE;
  hadc2.Init.DiscontinuousConvMode = DISABLE;
  hadc2.Init.ExternalTrigConv = ADC_SOFTWARE_START;
  hadc2.Init.DataAlign = ADC_DATAALIGN_RIGHT;
  hadc2.Init.NbrOfConversion = 1;
  if (HAL_ADC_Init(&hadc2) != HAL_OK)
  {
    _Error_Handler(__FILE__, __LINE__);
  }

}

/* I2C1 init function */
static void MX_I2C1_Init(void)
{

  hi2c1.Instance = I2C1;
  hi2c1.Init.ClockSpeed = 100000;
  hi2c1.Init.DutyCycle = I2C_DUTYCYCLE_2;
  hi2c1.Init.OwnAddress1 = 0;
  hi2c1.Init.AddressingMode = I2C_ADDRESSINGMODE_7BIT;
  hi2c1.Init.DualAddressMode = I2C_DUALADDRESS_DISABLE;
  hi2c1.Init.OwnAddress2 = 0;
  hi2c1.Init.GeneralCallMode = I2C_GENERALCALL_DISABLE;
  hi2c1.Init.NoStretchMode = I2C_NOSTRETCH_DISABLE;
  if (HAL_I2C_Init(&hi2c1) != HAL_OK)
  {
    _Error_Handler(__FILE__, __LINE__);
  }

}

/* TIM4 init function */
static void MX_TIM4_Init(void)
{

  TIM_ClockConfigTypeDef sClockSourceConfig;
  TIM_MasterConfigTypeDef sMasterConfig;

  htim4.Instance = TIM4;
  htim4.Init.Prescaler = 99;
  htim4.Init.CounterMode = TIM_COUNTERMODE_UP;
  htim4.Init.Period = 279;
  htim4.Init.ClockDivision = TIM_CLOCKDIVISION_DIV1;
  htim4.Init.AutoReloadPreload = TIM_AUTORELOAD_PRELOAD_ENABLE;
  if (HAL_TIM_Base_Init(&htim4) != HAL_OK)
  {
    _Error_Handler(__FILE__, __LINE__);
  }

  sClockSourceConfig.ClockSource = TIM_CLOCKSOURCE_INTERNAL;
  if (HAL_TIM_ConfigClockSource(&htim4, &sClockSourceConfig) != HAL_OK)
  {
    _Error_Handler(__FILE__, __LINE__);
  }

  sMasterConfig.MasterOutputTrigger = TIM_TRGO_RESET;
  sMasterConfig.MasterSlaveMode = TIM_MASTERSLAVEMODE_DISABLE;
  if (HAL_TIMEx_MasterConfigSynchronization(&htim4, &sMasterConfig) != HAL_OK)
  {
    _Error_Handler(__FILE__, __LINE__);
  }

}

static void MX_DMA_Init(void)
{
  /* DMA controller clock enable */
  __HAL_RCC_DMA1_CLK_ENABLE();

  /* DMA interrupt init */
  /* DMA1_Channel1_IRQn interrupt configuration */
  HAL_NVIC_SetPriority(DMA1_Channel1_IRQn, 0, 0);
  HAL_NVIC_EnableIRQ(DMA1_Channel1_IRQn);

}

/** Configure pins as
        * Analog
        * Input
        * Output
        * EVENT_OUT
        * EXTI
*/
static void MX_GPIO_Init(void)
{

  GPIO_InitTypeDef GPIO_InitStruct;

  /* GPIO Ports Clock Enable */
  __HAL_RCC_GPIOD_CLK_ENABLE();
  __HAL_RCC_GPIOA_CLK_ENABLE();
  __HAL_RCC_GPIOB_CLK_ENABLE();

  /*Configure GPIO pin Output Level */
  HAL_GPIO_WritePin(GPIOB, GPIO_PIN_8, GPIO_PIN_RESET);

  /*Configure GPIO pins : PA4 PA5 PA6 PA7 */
  GPIO_InitStruct.Pin = GPIO_PIN_4|GPIO_PIN_5|GPIO_PIN_6|GPIO_PIN_7;
  GPIO_InitStruct.Mode = GPIO_MODE_INPUT;
  GPIO_InitStruct.Pull = GPIO_PULLUP;
  HAL_GPIO_Init(GPIOA, &GPIO_InitStruct);

  /*Configure GPIO pin : PB8 */
  GPIO_InitStruct.Pin = GPIO_PIN_8;
  GPIO_InitStruct.Mode = GPIO_MODE_OUTPUT_PP;
  GPIO_InitStruct.Pull = GPIO_NOPULL;
  GPIO_InitStruct.Speed = GPIO_SPEED_FREQ_HIGH;
  HAL_GPIO_Init(GPIOB, &GPIO_InitStruct);

}

/* USER CODE BEGIN 4 */
int slow_adc_data_count = 2;
int slow_adc_halfdata_flag = 0;
uint32_t adc_data_temp;
int old_time_scale_position = 0;
void HAL_ADC_ConvCpltCallback(ADC_HandleTypeDef* AdcHandle)
{
	//
	if(old_time_scale_position != time_scale_position)
	{
		slow_adc_halfdata_flag = 0;
		slow_adc_data_count = 2;
		graph_x = ((MIDDLE_POINT-time_scale_step)/2) - (50/2);
		adc_finish = 1;
	}
	old_time_scale_position = time_scale_position;
	//
	if(time_scale_position < 10000)
	{
		adc_finish = 1;
	}
	if(time_scale_position == 10000 || time_scale_position == 20000 || time_scale_position == 50000)
	{
		if(slow_adc_halfdata_flag == 0)
		{
			adc_data_temp = adc_datas[0];
			slow_adc_halfdata_flag = ~slow_adc_halfdata_flag;
		}else{
			adc_data_temp &= 0xffff0000;
			adc_data_temp |= (adc_datas[0]&0x0000ffff);
			adc_datas[slow_adc_data_count] = adc_data_temp;
			slow_adc_data_count++;
			slow_adc_halfdata_flag = ~slow_adc_halfdata_flag;
		}

		if(slow_adc_data_count == ADC_DATA_ARRAY_SIZE)
		{
			slow_adc_data_count = 2;
			adc_finish = 1;
		}
	}
	if(time_scale_position == 100000 || time_scale_position == 200000 || time_scale_position == 500000)
	{
		//				  adc_datas[(int)(MIDDLE_POINT - (50*time_scale_step) + (graph_x*time_scale_step))/2] = adc_datas[0];
		//
		//				  if(graph_x < 128) graph_x++;
		//				  else
		//				  {
		//					  graph_x = 0;
		if(slow_adc_halfdata_flag == 0)
		{
			adc_datas[graph_x] = adc_datas[graph_x] & 0x0000ffff;
			adc_datas[graph_x] = adc_datas[graph_x] | (adc_datas[0] & 0xffff0000);
			adc_datas[graph_x] = adc_datas[graph_x] | 0x0000ffff;

			slow_adc_halfdata_flag = ~slow_adc_halfdata_flag;
		}else{
			adc_datas[graph_x] = adc_datas[graph_x] & 0xffff0000;
			adc_datas[graph_x] = adc_datas[graph_x] | (adc_datas[0]>>16 & 0x0000ffff);
			adc_datas[graph_x+1] = adc_datas[graph_x+1] | 0xffff0000;
			//
			slow_adc_halfdata_flag = ~slow_adc_halfdata_flag;
			//
			if(graph_x < (((MIDDLE_POINT-time_scale_step)/2) - (50/2) + (128/2))) graph_x++;
			else graph_x = ((MIDDLE_POINT-time_scale_step)/2) - (50/2);
		}
		//
		adc_finish = 1;
	}
}
int pin_toogle=0;
void HAL_SYSTICK_Callback(void)
{
}
// TIM4 freq. = 2kHz
void TIM4_UP_Callback(void)
{
	//
	  HAL_GPIO_WritePin(GPIOB, GPIO_PIN_8, pin_toogle);
	  pin_toogle=~pin_toogle;
	//
	  if(key_debounce_timer > 0) key_debounce_timer--;

	  // 10ms/DIV, 20ms/DIV, 50ms/DIV
		if(time_scale_position == 10000 || time_scale_position == 20000 || time_scale_position == 50000)
		{

			  // adc re-start
			  HAL_ADC_Start(&hadc2);
			  HAL_ADCEx_MultiModeStart_DMA(&hadc1, adc_datas, 1);

		}
		// 100ms/DIV, 200ms/DIV, 500ms/DIV
		// 2kHz/10=0.2kHz => 5ms
		//  100ms/DIV, 200ms/DIV, 500ms/DIV
		// =10ms/dot, 20ms/dot, 50ms/dot
		//  @2kHz, div=
		//  20,       40,       ,100
		if(time_scale_position == 100000 || time_scale_position == 200000 || time_scale_position == 500000)
		{
			if(slow_adc_div_counter < (time_scale_position/5000)) slow_adc_div_counter++;
			else
			{
				slow_adc_div_counter = 0;
				  // adc re-start
				  HAL_ADC_Start(&hadc2);
				  HAL_ADCEx_MultiModeStart_DMA(&hadc1, adc_datas, 1);

			}
		}
}
/* USER CODE END 4 */

void _Error_Handler(char *file, int line)
{
  while(1)
  {
  }
}

/************************ (C) COPYRIGHT STMicroelectronics *****END OF FILE****/
